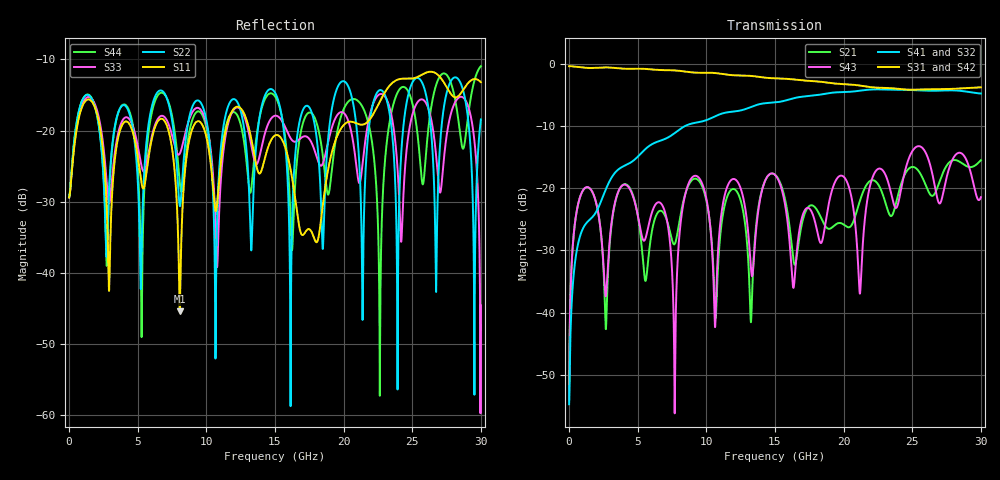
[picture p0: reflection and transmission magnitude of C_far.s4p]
!diffpair-meanders C_far (U-bend, sparse tuning (2 excursions) next to the launch), mesh medium
!ports 1 P_near 2 N_near 3 P_far 4 N_far; openEMS FDTD, lumped 50 ohm ports
# Hz S RI R 50.0
! Port[1] = P_near
! Port[2] = N_near
! Port[3] = P_far
! Port[4] = N_far
!freq ReS11 ImS11 ReS12 ImS12 ReS13 ImS13
! ReS14 ImS14
! ReS21 ImS21 ReS22 ImS22 ReS23 ImS23
! ReS24 ImS24
! ReS31 ImS31 ReS32 ImS32 ReS33 ImS33
! ReS34 ImS34
! ReS41 ImS41 ReS42 ImS42 ReS43 ImS43
! ReS44 ImS44
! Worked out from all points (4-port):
!   3000 points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, 10 MHz to 30 GHz, reference 50 ohm
!   strongest paths, dB at 10 MHz, 7.51 GHz, 15.01 GHz, 22.51 GHz, 30 GHz:
!     S31: -0.4, -1.1, -2.4, -3.9, -3.8
!     S42: -0.4, -1.1, -2.6, -4.0, -4.3
!     S41: -54.7, -11.5, -6.2, -4.1, -4.8
!     S32: -54.7, -11.4, -6.3, -4.4, -4.2
!     S43: -54.1, -33.4, -17.9, -16.9, -21.5
!     S21: -54.1, -28.4, -17.9, -19.4, -15.5
!   lowest |S11| = -45.4 dB at 8.07 GHz (marker M1), VSWR 1.01, Z = 49.5 - j0.152 ohm
!   |S11| at or under -10 dB: start of sweep to end of sweep
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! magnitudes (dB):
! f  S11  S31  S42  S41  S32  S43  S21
! 10 MHz  -29.4  -0.4  -0.4  -54.7  -54.7  -54.1  -54.1
! 1.1 GHz  -16.1  -0.7  -0.7  -26.1  -26.0  -20.1  -20.1
! 8.07 GHz  -45.4  -1.2  -1.2  -10.5  -10.6  -26.9  -25.0
! 22.64 GHz  -15.9  -3.9  -4.0  -4.1  -4.4  -16.9  -19.9
! 23.93 GHz  -12.8  -4.0  -4.2  -4.2  -3.8  -22.8  -21.4
! 28.66 GHz  -14.4  -4.0  -4.1  -4.4  -4.5  -14.5  -16.1
! 30 GHz  -13.2  -3.8  -4.3  -4.8  -4.2  -21.5  -15.5
